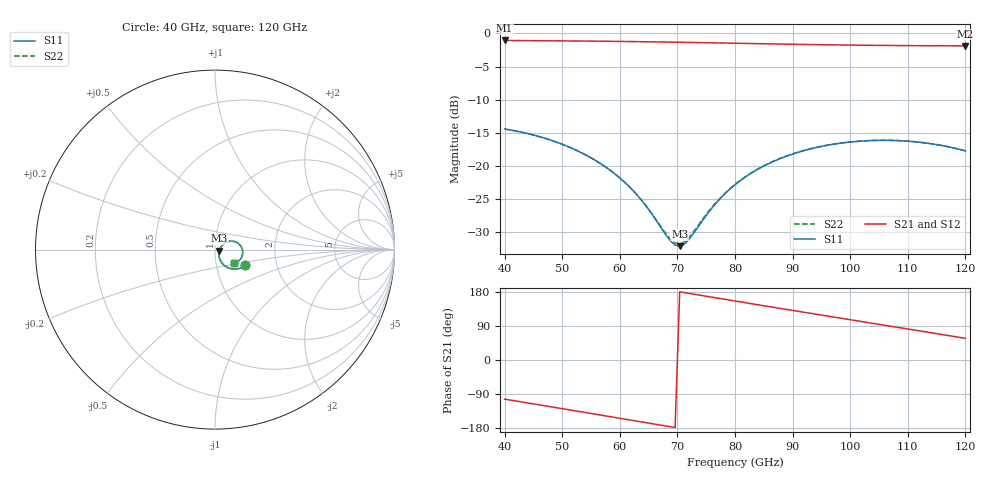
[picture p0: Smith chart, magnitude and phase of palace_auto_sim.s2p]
#  GHZ S DB R 50
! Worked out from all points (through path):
!   101 points, 40 GHz to 120 GHz, reference 50 ohm
!   highest |S21| = -1.06 dB at 40 GHz (marker M1); lowest = -1.9 dB at 120 GHz (marker M2)
!   group delay of S21, straight-line fit = 6.93 ps
!   lowest |S11| = -32.2 dB at 70.4 GHz (marker M3), VSWR 1.05, Z = 52.5 - j0.57 ohm
!   |S11| at or under -10 dB: start of sweep to end of sweep
!   |S22| runs from -31.8 to -14.4 dB; largest |S21 - S12| = 1.4e-13
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40  -14.45 -27.7  -1.06 -103.3  -1.06 -103.3  -14.45 -27.6
46.4  -15.69 -41.0  -1.11 -119.3  -1.11 -119.3  -15.69 -40.8
53.6  -18.15 -54.7  -1.15 -137.6  -1.15 -137.6  -18.15 -54.3
57.6  -20.23 -60.7  -1.19 -147.7  -1.19 -147.7  -20.23 -60.2
60.8  -22.46 -63.6  -1.22 -155.8  -1.22 -155.8  -22.45 -62.9
64  -25.46 -62.6  -1.25 -164.0  -1.25 -164.0  -25.42 -61.6
67.2  -29.42 -50.6  -1.29 -172.1  -1.29 -172.1  -29.28 -49.2
68.8  -31.36 -35.3  -1.31 -176.1  -1.31 -176.1  -31.11 -34.0
69.6  -31.97 -24.6  -1.33 -178.2  -1.33 -178.2  -31.67 -23.6
70.4  -32.15 -12.7  -1.34 179.8  -1.34 179.8  -31.81 -12.2
71.2  -31.84 -1.2  -1.35 177.8  -1.35 177.8  -31.50 -1.2
72  -31.14 8.8  -1.36 175.8  -1.36 175.8  -30.84 8.3
76  -26.39 31.6  -1.42 165.7  -1.42 165.7  -26.26 30.8
80  -22.88 33.6  -1.48 155.7  -1.48 155.7  -22.81 33.0
83.2  -20.91 30.8  -1.53 147.7  -1.53 147.7  -20.87 30.3
86.4  -19.45 26.3  -1.58 139.8  -1.58 139.8  -19.42 25.9
93.6  -17.35 13.9  -1.69 122.0  -1.69 122.0  -17.32 13.7
97.6  -16.68 6.4  -1.74 112.2  -1.74 112.2  -16.66 6.3
100.8  -16.35 0.3  -1.77 104.4  -1.77 104.4  -16.33 0.2
107.2  -16.17 -12.2  -1.82 88.7  -1.82 88.7  -16.16 -12.2
113.6  -16.62 -24.6  -1.86 73.0  -1.86 73.0  -16.60 -24.4
120  -17.76 -36.4  -1.88 57.2  -1.88 57.2  -17.74 -35.9
